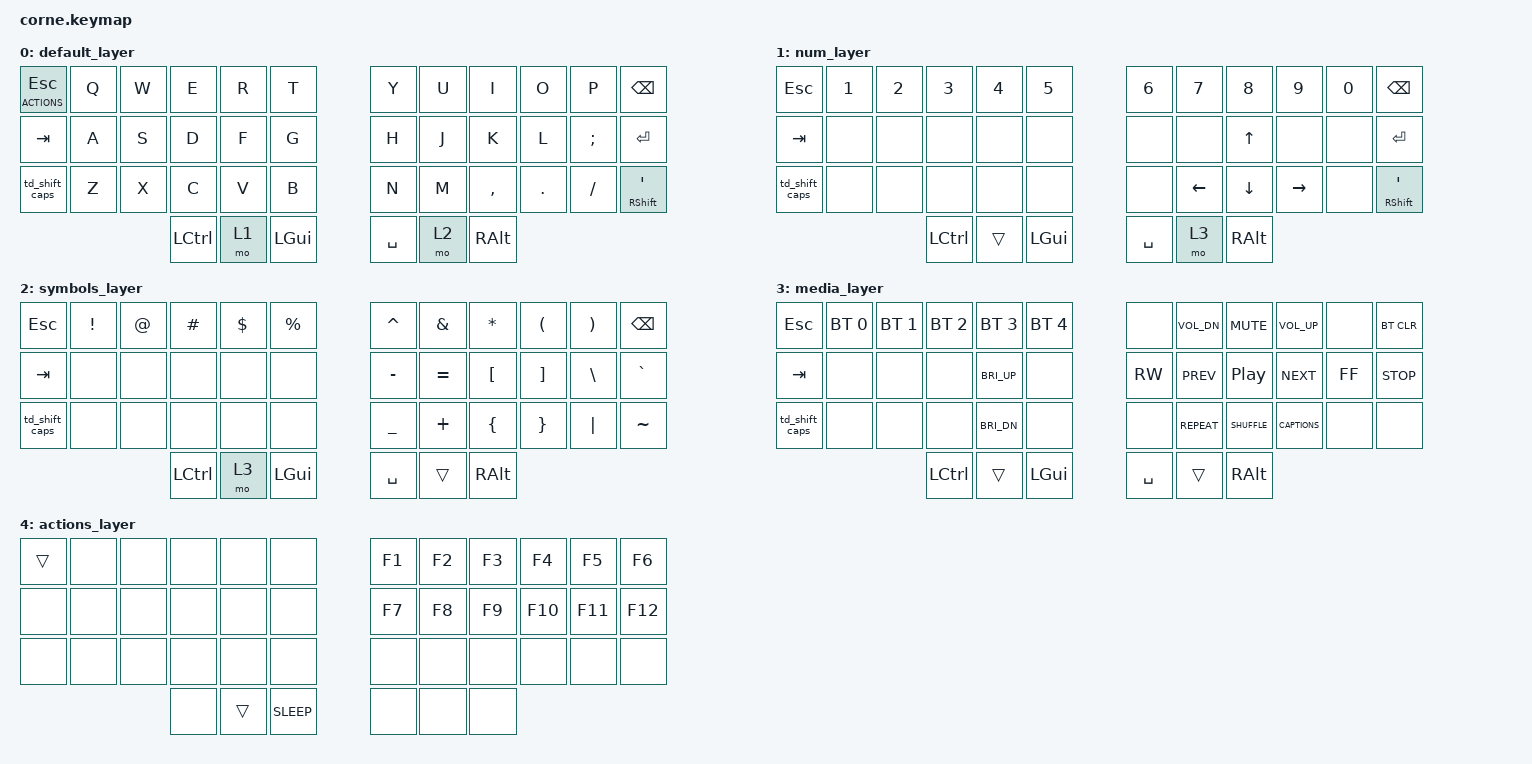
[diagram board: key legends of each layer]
/*
 * Copyright (c) 2020 The ZMK Contributors
 *
 * SPDX-License-Identifier: MIT
 */

#include <behaviors.dtsi>
#include <dt-bindings/zmk/keys.h>
#include <dt-bindings/zmk/bt.h>

#define DEFAULT 0
#define NUMBERS 1
#define SYMBOLS 2
#define MEDIA   3
#define ACTIONS 4


&lt {
    tapping-term-ms = <200>;
    flavor = "tap-preferred";
    require-prior-idle-ms = <125>;
};

&mt {
    tapping-term-ms = <200>;
    flavor = "hold-preferred";
};

/ {
        behaviors {
                td_shift_caps: tap_dance_mod_tap_shift_caps {
                compatible = "zmk,behavior-tap-dance";
                #binding-cells = <0>;
                tapping-term-ms = <200>;
                bindings = <&mt LSHIFT CAPSLOCK>, <&kp CAPSLOCK>;
                };
        };

        keymap {
                compatible = "zmk,keymap";

                default_layer {
// -----------------------------------------------------------------------------------------
// | ESC        |  Q  |  W  |  E    |  R  |  T  |   |  Y  |  U   |  I  |  O  |  P  | BSPC |
// | TAB        |  A  |  S  |  D    |  F  |  G  |   |  H  |  J   |  K  |  L  |  ;  |  RET |
// | SHFT, CAPS |  Z  |  X  |  C    |  V  |  B  |   |  N  |  M   |  ,  |  .  |  /  | '    |
//                          | LCTRL | LWR | GUI |   | SPC | RSE  | ALT |
                        bindings = <
   &lt ACTIONS ESC   &kp Q   &kp W     &kp E &kp R    &kp T   &kp Y      &kp U  &kp I      &kp O    &kp P     &kp BSPC
   &kp TAB           &kp A   &kp S     &kp D &kp F    &kp G   &kp H      &kp J  &kp K      &kp L    &kp SEMI  &kp RET
   &td_shift_caps    &kp Z   &kp X     &kp C &kp V    &kp B   &kp N      &kp M  &kp COMMA  &kp DOT  &kp FSLH  &mt RSHFT SQT
                             &kp LCTRL &mo 1 &kp LGUI         &kp SPACE  &mo 2  &kp RALT
                        >;
                };
                num_layer {
// -----------------------------------------------------------------------------------------
// | ESC        |  1  |  2  |  3    |  4  |  5   |   |  6  |  7  |  8  |  9  |  0  | BSPC |
// | TAB        |     |     |       |     |      |   |     |     |  UP |     |     | RET  |
// | SHFT, CAPS |     |     |       |     |      |   |     | LFT | DWN | RGT |     |      |
//                          | LCTRL |     | LGUI |   | SPC |     | ALT |
                        bindings = <
   &kp ESC          &kp N1   &kp N2   &kp N3     &kp N4   &kp N5        &kp N6     &kp N7    &kp N8    &kp N9     &kp N0  &kp BSPC
   &kp TAB          &none    &none    &none      &none    &none         &none      &none     &kp UP    &none      &none   &kp RET
   &td_shift_caps   &none    &none    &none      &none    &none         &none      &kp LEFT  &kp DOWN  &kp RIGHT  &none   &mt RSHFT SQT
                                      &kp LCTRL  &trans   &kp LGUI      &kp SPACE  &mo 3     &kp RALT
                        >;
                };

                symbols_layer {
// -----------------------------------------------------------------------------------------
// | ESC  |  !  |  @  |  #    |  $  |  %  |   |  ^  |  &  |  *  |  (  |  )  | BSPC |
// | TAB  |     |     |       |     |     |   |  -  |  =  |  [  |  ]  |  \  |  `   |
// | SHFT |     |     |       |     |     |   |  _  |  +  |  {  |  }  | "|" |  ~   |
//                    | LCTRL |     | GUI |   | SPC |     | ALT |
                        bindings = <
   &kp ESC          &kp EXCL  &kp AT     &kp HASH   &kp DLLR   &kp PRCNT     &kp CARET &kp AMPS  &kp ASTRK &kp LPAR &kp RPAR &kp BSPC
   &kp TAB          &none     &none      &none      &none      &none         &kp MINUS &kp EQUAL &kp LBKT  &kp RBKT &kp BSLH &kp GRAVE
   &td_shift_caps   &none     &none      &none      &none      &none         &kp UNDER &kp PLUS  &kp LBRC  &kp RBRC &kp PIPE &kp TILDE
                                         &kp LCTRL  &mo 3      &kp LGUI      &kp SPACE   &trans    &kp RALT
                        >;
                };

                media_layer {
// ---------------------------------------------------------------------------------------------
// | ESC  | BT0 | BT1 | BT2   | BT3      | BT4 |   |       |      |        |          |     |      |
// | TAB  |     |     |       | C_BRI_UP |     |   |  RW   | PREV | PLAY   | NEXT     |  FF | STOP |
// | SHFT |     |     |       | C_BRI_DN |     |   |       | REPT | SHUFLE | CAPTIONS |     |      |
//                    | LCTRL |     | LGUI     |   | SPACE |      | ALT    |
                        bindings = <
   &kp ESC          &bt BT_SEL 0  &bt BT_SEL 1  &bt BT_SEL 2  &bt BT_SEL 3  &bt BT_SEL 4     &none      &kp C_VOL_DN  &kp C_MUTE     &kp C_VOL_UP     &none     &bt BT_CLR
   &kp TAB          &none         &none         &none         &kp C_BRI_UP  &none            &kp C_RW   &kp C_PREV    &kp C_PP       &kp C_NEXT       &kp C_FF  &kp C_STOP
   &td_shift_caps   &none         &none         &none         &kp C_BRI_DN  &none            &none      &kp C_REPEAT  &kp C_SHUFFLE  &kp C_CAPTIONS   &none     &none
                                                &kp LCTRL     &trans        &kp LGUI         &kp SPACE  &trans        &kp RALT
                        >;
                };

                 actions_layer {
// ---------------------------------------------------------------------------------------------
// |      |     |     |     |     |       |   | F1 | F2 | F3 | F4  | F5  | F6  |
// |      |     |     |     |     |       |   | F7 | F8 | F9 | F10 | F11 | F12 |
// |      |     |     |     |     |       |   |    |    |    |     |     |     |
//                    |     |     | SLEEP |   |    |    |    |
                        bindings = <
   &trans   &none  &none  &none  &none   &none          &kp F1   &kp F2   &kp F3    &kp F4   &kp F5    &kp F6
   &none    &none  &none  &none  &none   &none          &kp F7   &kp F8   &kp F9    &kp F10  &kp F11   &kp F12
   &none    &none  &none  &none  &none   &none          &none    &none    &none     &none    &none     &none
                          &none  &trans  &kp C_SLEEP    &none    &none   &none
                        >;
                };
        };
};
